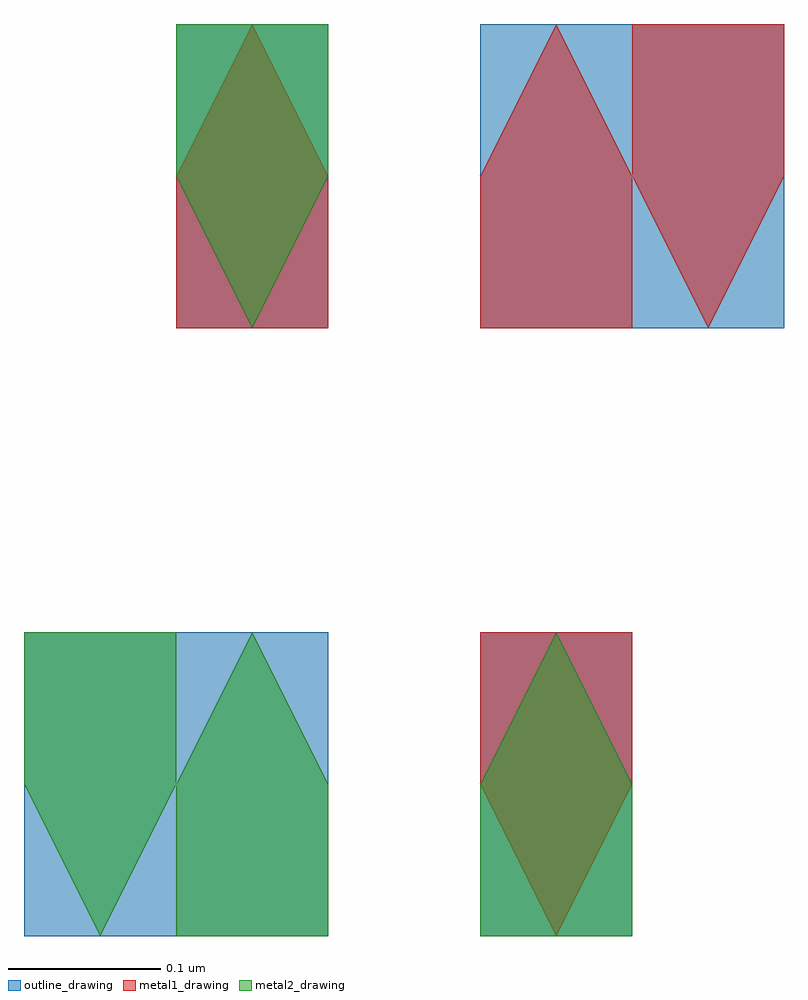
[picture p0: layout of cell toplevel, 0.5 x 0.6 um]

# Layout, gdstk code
from math import pi, radians
import gdstk
lib = gdstk.Library(unit=1e-6, precision=1e-09)
def R(c, l, rs):  # rectangles x0, y0, x1, y1
    for r in rs: c.add(gdstk.rectangle(r[:2], r[2:], *l))
def P(c, l, *ps):  # polygons
    for p in ps: c.add(gdstk.Polygon(p, *l))
metal1_drawing = (8, 0)
metal2_drawing = (10, 0)
outline_drawing = (255, 255)

sub1 = lib.new_cell('sub1')
R(sub1, metal1_drawing, [(-0.05,-0.1,0.05,0)])
P(sub1, metal1_drawing, [(-0.05,0),(0.05,0),(0,0.1)])
R(sub1, outline_drawing, [(-0.05,-0.1,0.05,0.1)])

sub2 = lib.new_cell('sub2')
R(sub2, metal2_drawing, [(-0.05,-0.1,0.05,0)])
P(sub2, metal2_drawing, [(-0.05,0),(0.05,0),(0,0.1)])
R(sub2, outline_drawing, [(-0.05,-0.1,0.05,0.1)])

toplevel = lib.new_cell('toplevel')
toplevel.add(gdstk.Reference(sub1, (0.1,0.2), rotation=pi, x_reflection=True))
toplevel.add(gdstk.Reference(sub1, (0.2,0.2), x_reflection=True))
toplevel.add(gdstk.Reference(sub1, (-0.1,0.2), rotation=pi, x_reflection=True))
toplevel.add(gdstk.Reference(sub1, (0.1,-0.2), x_reflection=True))
toplevel.add(gdstk.Reference(sub2, (-0.1,-0.2), rotation=pi, x_reflection=True))
toplevel.add(gdstk.Reference(sub2, (-0.2,-0.2), x_reflection=True))
toplevel.add(gdstk.Reference(sub2, (0.1,-0.2), rotation=pi, x_reflection=True))
toplevel.add(gdstk.Reference(sub2, (-0.1,0.2), x_reflection=True))

lib.write_gds('toplevel.gds')
